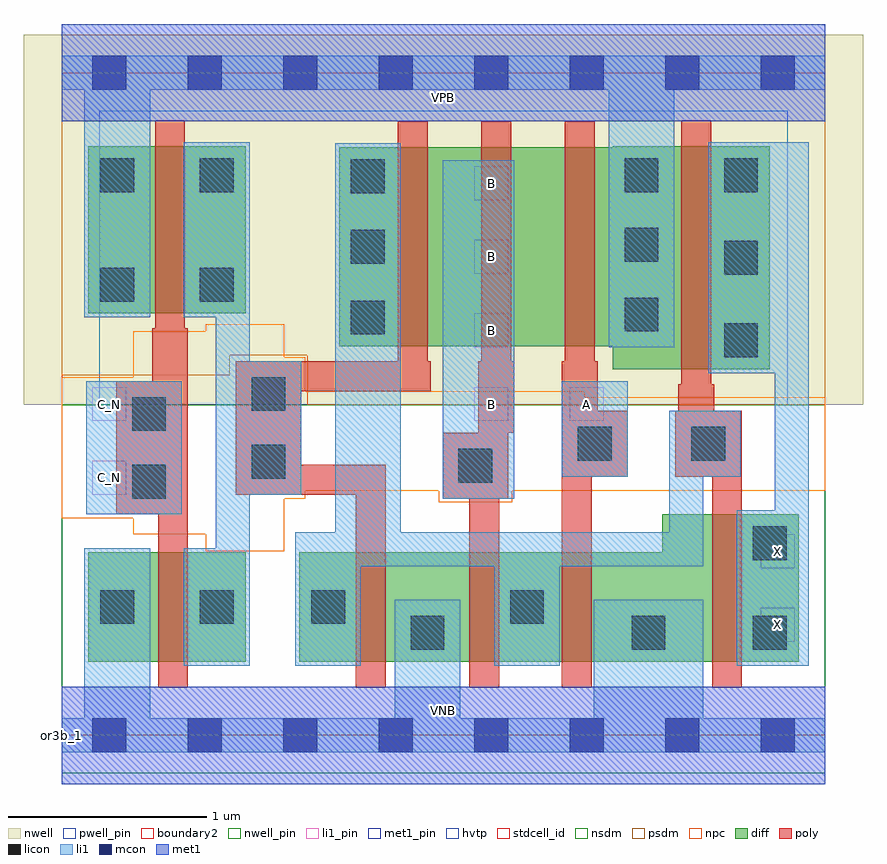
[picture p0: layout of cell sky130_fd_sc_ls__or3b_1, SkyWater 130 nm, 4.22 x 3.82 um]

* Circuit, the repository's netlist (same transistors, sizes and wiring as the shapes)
* Copyright 2020 The SkyWater PDK Authors
*
* Licensed under the Apache License, Version 2.0 (the "License");
* you may not use this file except in compliance with the License.
* You may obtain a copy of the License at
*
*     https://www.apache.org/licenses/LICENSE-2.0
*
* Unless required by applicable law or agreed to in writing, software
* distributed under the License is distributed on an "AS IS" BASIS,
* WITHOUT WARRANTIES OR CONDITIONS OF ANY KIND, either express or implied.
* See the License for the specific language governing permissions and
* limitations under the License.
*
* SPDX-License-Identifier: Apache-2.0

.SUBCKT sky130_fd_sc_ls__or3b_1 A B C_N VGND VNB VPB VPWR X
*.PININFO A:I B:I C_N:I VGND:I VNB:I VPB:I VPWR:I X:O
MMP0 VPWR A sndPA VPB sky130_fd_pr__pfet_01v8_hvt m=1 w=1.0U l=0.15U mult=1 sa=0.265
+ sb=0.265 sd=0.28 area=0.063 perim=1.14
MMP1 sndPA B sndPB VPB sky130_fd_pr__pfet_01v8_hvt m=1 w=1.0U l=0.15U mult=1 sa=0.265
+ sb=0.265 sd=0.28 area=0.063 perim=1.14
MMP2 sndPB C y VPB sky130_fd_pr__pfet_01v8_hvt m=1 w=1.0U l=0.15U mult=1 sa=0.265
+ sb=0.265 sd=0.28 area=0.063 perim=1.14
MMIP2 C C_N VPWR VPB sky130_fd_pr__pfet_01v8_hvt m=1 w=0.84U l=0.15U mult=1 sa=0.265
+ sb=0.265 sd=0.28 area=0.063 perim=1.14
MMIP3 X y VPWR VPB sky130_fd_pr__pfet_01v8_hvt m=1 w=1.12U l=0.15U mult=1 sa=0.265
+ sb=0.265 sd=0.28 area=0.063 perim=1.14
MMN0 y A VGND VNB sky130_fd_pr__nfet_01v8 m=1 w=0.55U l=0.15U mult=1 sa=0.265 sb=0.265
+ sd=0.28 area=0.063 perim=1.14
MMN1 y B VGND VNB sky130_fd_pr__nfet_01v8 m=1 w=0.55U l=0.15U mult=1 sa=0.265 sb=0.265
+ sd=0.28 area=0.063 perim=1.14
MMN2 y C VGND VNB sky130_fd_pr__nfet_01v8 m=1 w=0.55U l=0.15U mult=1 sa=0.265 sb=0.265
+ sd=0.28 area=0.063 perim=1.14
MMIN2 C C_N VGND VNB sky130_fd_pr__nfet_01v8 m=1 w=0.55U l=0.15U mult=1 sa=0.265
+ sb=0.265 sd=0.28 area=0.063 perim=1.14
MMIN3 X y VGND VNB sky130_fd_pr__nfet_01v8 m=1 w=0.74U l=0.15U mult=1 sa=0.265
+ sb=0.265 sd=0.28 area=0.063 perim=1.14
.ENDS sky130_fd_sc_ls__or3b_1

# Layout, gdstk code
import gdstk
lib = gdstk.Library(unit=1e-6, precision=1e-09)
def R(c, l, rs):  # rectangles x0, y0, x1, y1
    for r in rs: c.add(gdstk.rectangle(r[:2], r[2:], *l))
def A(c, l, x, y, w, h, nx, ny, dx, dy):  # array of equal rectangles
    R(c, l, [(x+i*dx, y+j*dy, x+i*dx+w, y+j*dy+h) for i in range(nx) for j in range(ny)])
def P(c, l, *ps):  # polygons
    for p in ps: c.add(gdstk.Polygon(p, *l))
nwell_pin = (64, 16)
nwell = (64, 20)
diff = (65, 20)
poly = (66, 20)
licon = (66, 44)
li1_pin = (67, 16)
li1 = (67, 20)
mcon = (67, 44)
met1_pin = (68, 16)
met1 = (68, 20)
hvtp = (78, 44)
stdcell_id = (81, 4)
nsdm = (93, 44)
psdm = (94, 20)
npc = (95, 20)
pwell_pin = (122, 16)
boundary2 = (236, 0)

sky130_fd_sc_ls__or3b_1 = lib.new_cell('sky130_fd_sc_ls__or3b_1')
R(sky130_fd_sc_ls__or3b_1, nwell_pin, [(0,3.085,3.84,3.33)])
R(sky130_fd_sc_ls__or3b_1, nwell, [(-0.19,1.66,4.03,3.52)])
R(sky130_fd_sc_ls__or3b_1, diff, [(0.135,0.37,0.925,0.92), (0.135,2.12,0.925,2.96)])
P(sky130_fd_sc_ls__or3b_1, diff, [(3.56,2.96),(2.77,2.96),(2.77,2.955),(1.395,2.955),(1.395,1.955),(2.77,1.955),(2.77,1.84),(3.56,1.84)],
  [(3.705,1.11),(3.02,1.11),(3.02,0.92),(1.195,0.92),(1.195,0.37),(3.705,0.37)])
P(sky130_fd_sc_ls__or3b_1, poly, [(3.42,1.63),(3.28,1.63),(3.28,1.765),(3.265,1.765),(3.265,3.09),(3.115,3.09),(3.115,1.765),(3.1,1.765),(3.1,1.63),(3.085,1.63),(3.085,1.3),(3.27,1.3),(3.27,0.24),(3.42,0.24)],
  [(2.845,1.63),(2.695,1.63),(2.695,1.88),(2.68,1.88),(2.68,3.085),(2.53,3.085),(2.53,1.88),(2.515,1.88),(2.515,0.24),(2.665,0.24),(2.665,1.3),(2.845,1.3)],
  [(2.275,1.88),(2.26,1.88),(2.26,3.085),(2.11,3.085),(2.11,1.88),(2.095,1.88),(2.095,1.52),(1.915,1.52),(1.915,1.19),(2.05,1.19),(2.05,0.24),(2.2,0.24),(2.2,1.19),(2.245,1.19),(2.245,1.52),(2.275,1.52)],
  [(1.855,1.88),(1.84,1.88),(1.84,3.085),(1.69,3.085),(1.69,1.88),(0.875,1.88),(0.875,1.21),(1.48,1.21),(1.48,0.24),(1.63,0.24),(1.63,1.36),(1.205,1.36),(1.205,1.73),(1.855,1.73)],
  [(0.635,2.045),(0.62,2.045),(0.62,3.09),(0.47,3.09),(0.47,2.045),(0.455,2.045),(0.455,1.78),(0.275,1.78),(0.275,1.11),(0.485,1.11),(0.485,0.24),(0.635,0.24)])
A(sky130_fd_sc_ls__or3b_1, licon, 3.33, 1.9, 0.17, 0.17, 1, 3, 0, 0.415)
A(sky130_fd_sc_ls__or3b_1, licon, 1.455, 2.015, 0.17, 0.17, 1, 3, 0, 0.355)
A(sky130_fd_sc_ls__or3b_1, licon, 2.83, 2.03, 0.17, 0.17, 1, 3, 0, 0.35)
R(sky130_fd_sc_ls__or3b_1, licon, [(1.755,0.43,1.925,0.6), (2.865,0.43,3.035,0.6), (3.475,0.43,3.645,0.6), (0.195,0.56,0.365,0.73), (0.695,0.56,0.865,0.73), (1.255,0.56,1.425,0.73), (2.255,0.56,2.425,0.73), (3.475,0.88,3.645,1.05), (0.355,1.19,0.525,1.36), (1.995,1.27,2.165,1.44), (0.955,1.29,1.125,1.46), (2.595,1.38,2.765,1.55), (3.165,1.38,3.335,1.55), (0.355,1.53,0.525,1.7), (0.955,1.63,1.125,1.8), (0.195,2.18,0.365,2.35), (0.695,2.18,0.865,2.35), (0.195,2.73,0.365,2.9), (0.695,2.73,0.865,2.9)])
A(sky130_fd_sc_ls__or3b_1, li1_pin, 2.075, 1.58, 0.17, 0.17, 1, 4, 0, 0.37)
R(sky130_fd_sc_ls__or3b_1, li1_pin, [(3.515,0.47,3.685,0.64), (3.515,0.84,3.685,1.01), (0.155,1.21,0.325,1.38), (0.155,1.58,0.325,1.75), (2.555,1.58,2.725,1.75)])
R(sky130_fd_sc_ls__or3b_1, li1, [(0.125,1.11,0.605,1.78), (1.915,1.19,2.275,2.89), (2.515,1.3,2.845,1.78)])
P(sky130_fd_sc_ls__or3b_1, li1, [(0,-0.085),(0,0.085),(0.115,0.085),(0.115,0.94),(0.445,0.94),(0.445,0.085),(1.675,0.085),(1.675,0.68),(2.005,0.68),(2.005,0.085),(2.675,0.085),(2.675,0.68),(3.225,0.68),(3.225,0.085),(3.84,0.085),(3.84,-0.085)],
  [(0,3.245),(0,3.415),(3.84,3.415),(3.84,3.245),(3.08,3.245),(3.08,1.95),(2.75,1.95),(2.75,3.245),(0.445,3.245),(0.445,2.1),(0.115,2.1),(0.115,3.245)],
  [(3.585,1.13),(3.585,1.82),(3.25,1.82),(3.25,2.98),(3.755,2.98),(3.755,0.35),(3.395,0.35),(3.395,1.13)],
  [(1.375,1.02),(1.375,2.975),(1.705,2.975),(1.705,1.02),(3.055,1.02),(3.055,1.63),(3.415,1.63),(3.415,1.3),(3.225,1.3),(3.225,0.85),(2.505,0.85),(2.505,0.35),(2.175,0.35),(2.175,0.85),(1.505,0.85),(1.505,0.35),(1.175,0.35),(1.175,1.02)],
  [(0.945,1.88),(1.205,1.88),(1.205,1.21),(0.945,1.21),(0.945,0.35),(0.615,0.35),(0.615,0.94),(0.775,0.94),(0.775,2.1),(0.615,2.1),(0.615,2.98),(0.945,2.98)])
A(sky130_fd_sc_ls__or3b_1, mcon, 0.155, -0.085, 0.17, 0.17, 8, 2, 0.48, 3.33)
R(sky130_fd_sc_ls__or3b_1, met1_pin, [(0,0,3.84,0.245), (0,3.085,3.84,3.33)])
R(sky130_fd_sc_ls__or3b_1, met1, [(0,-0.245,3.84,0.245), (0,3.085,3.84,3.575)])
R(sky130_fd_sc_ls__or3b_1, hvtp, [(0.19,1.66,3.65,3.14)])
R(sky130_fd_sc_ls__or3b_1, stdcell_id, [(0,0,3.84,3.33)])
R(sky130_fd_sc_ls__or3b_1, nsdm, [(0,-0.19,3.84,1.66)])
P(sky130_fd_sc_ls__or3b_1, psdm, [(3.84,3.52),(0,3.52),(0,1.81),(0.845,1.81),(0.845,1.91),(1.235,1.91),(1.235,1.66),(3.84,1.66)])
P(sky130_fd_sc_ls__or3b_1, npc, [(3.84,1.7),(2.63,1.7),(2.63,1.73),(1.225,1.73),(1.225,1.9),(1.12,1.9),(1.12,2.065),(0.725,2.065),(0.725,2.03),(0.36,2.03),(0.36,1.8),(0,1.8),(0,1.09),(0.36,1.09),(0.36,1.01),(0.725,1.01),(0.725,0.925),(1.12,0.925),(1.12,1.19),(1.225,1.19),(1.225,1.23),(1.895,1.23),(1.895,1.17),(2.265,1.17),(2.265,1.23),(3.84,1.23)])
R(sky130_fd_sc_ls__or3b_1, pwell_pin, [(0,0,3.84,0.245)])
R(sky130_fd_sc_ls__or3b_1, boundary2, [(0,0,3.84,3.33)])
sky130_fd_sc_ls__or3b_1.add(gdstk.Label('or3b_1', (0,0), layer=83, texttype=44))
sky130_fd_sc_ls__or3b_1.add(gdstk.Label('VNB', (1.92,0.123), layer=64, texttype=59))
sky130_fd_sc_ls__or3b_1.add(gdstk.Label('VPB', (1.92,3.208), layer=64, texttype=5))
sky130_fd_sc_ls__or3b_1.add(gdstk.Label('VPWR', (1.92,3.208), layer=68, texttype=5))
sky130_fd_sc_ls__or3b_1.add(gdstk.Label('VGND', (1.92,0.123), layer=68, texttype=5))
sky130_fd_sc_ls__or3b_1.add(gdstk.Label('A', (2.64,1.665), layer=67, texttype=5))
sky130_fd_sc_ls__or3b_1.add(gdstk.Label('B', (2.16,1.665), layer=67, texttype=5))
sky130_fd_sc_ls__or3b_1.add(gdstk.Label('B', (2.16,2.035), layer=67, texttype=5))
sky130_fd_sc_ls__or3b_1.add(gdstk.Label('B', (2.16,2.405), layer=67, texttype=5))
sky130_fd_sc_ls__or3b_1.add(gdstk.Label('B', (2.16,2.775), layer=67, texttype=5))
sky130_fd_sc_ls__or3b_1.add(gdstk.Label('C_N', (0.24,1.295), layer=67, texttype=5))
sky130_fd_sc_ls__or3b_1.add(gdstk.Label('C_N', (0.24,1.665), layer=67, texttype=5))
sky130_fd_sc_ls__or3b_1.add(gdstk.Label('X', (3.6,0.555), layer=67, texttype=5))
sky130_fd_sc_ls__or3b_1.add(gdstk.Label('X', (3.6,0.925), layer=67, texttype=5))

lib.write_gds('sky130_fd_sc_ls__or3b_1.gds')
